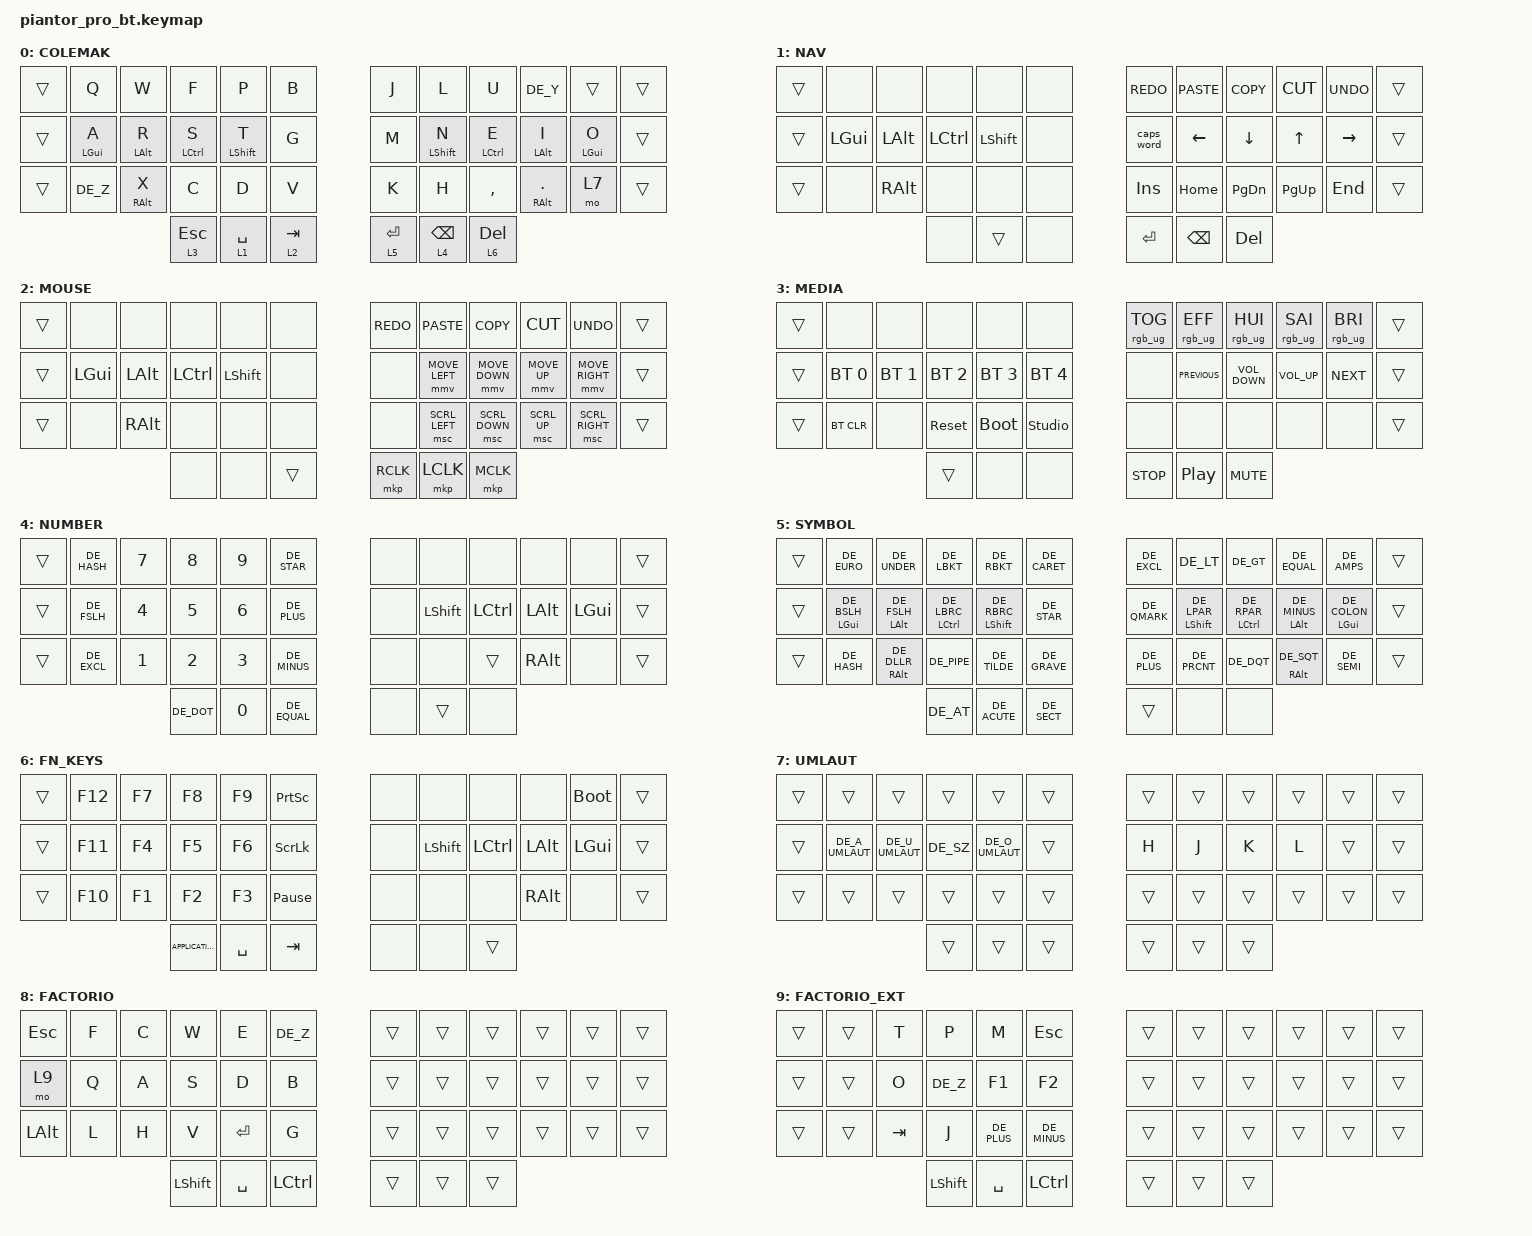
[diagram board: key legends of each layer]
/*
 * Copyright (c) 2020 The ZMK Contributors
 *
 * SPDX-License-Identifier: MIT
 */

#include <behaviors.dtsi>
#include <dt-bindings/zmk/keys.h>
#include <dt-bindings/zmk/bt.h>
#include <dt-bindings/zmk/rgb.h>
#include <dt-bindings/zmk/pointing.h>

#include "keys_de.h"
// TODO:
//  - configure mouse-movement correctly --> https://zmk.dev/docs/keymaps/behaviors/mouse-emulation

#define LEFT_HALVE_KEYS  0  1  2  3  4  5  12 13 14 15 16 17 24 25 26 27 28 29
#define RIGHT_HALVE_KEYS 6  7  8  9  10 11 18 19 20 21 22 23 30 31 32 33 34 35
#define THUMB_KEYS                         36 37 38 39 40 41

#define QUICK_TAP_MS 175

/ {
    chosen {
        zmk,physical-layout = &default_layout;
    };
};

&lt {
  flavor = "balanced";
  tapping-term-ms = <200>;
  // Make double-tap and hold able to fire e.g. mutliple backspaces
  quick-tap-ms = <QUICK_TAP_MS>;
};

/ {
    behaviors {
        hml: home_row_mod_left {
            compatible = "zmk,behavior-hold-tap";
            #binding-cells = <2>;
            flavor = "balanced";
            require-prior-idle-ms = <150>;
            tapping-term-ms = <280>;
            quick-tap-ms = <QUICK_TAP_MS>;
            bindings = <&kp>, <&kp>;
            hold-trigger-key-positions = <RIGHT_HALVE_KEYS THUMB_KEYS>;
            hold-trigger-on-release;
        };
        hmr: home_row_mod_right {
            compatible = "zmk,behavior-hold-tap";
            #binding-cells = <2>;
            flavor = "balanced";
            require-prior-idle-ms = <150>;
            tapping-term-ms = <280>;
            quick-tap-ms = <QUICK_TAP_MS>;
            bindings = <&kp>, <&kp>;
            hold-trigger-key-positions = <LEFT_HALVE_KEYS THUMB_KEYS>;
            hold-trigger-on-release;
        };
    };
};

/ {
    keymap {
        compatible = "zmk,keymap";

        default_layer_0 {
            display-name = "COLEMAK";
            bindings = <
                &trans &kp  Q      &kp  W      &kp  F       &kp  P       &kp B     /**/ &kp J      &kp  L         &kp  U        &kp  DE_Y     &trans        &trans
                &trans &hml LGUI A &hml LALT R &hml LCTRL S &hml LSHFT T &kp G     /**/ &kp M      &hmr LSHFT N   &hmr LCTRL E  &hmr LALT I   &hmr LGUI O   &trans
                &trans &kp  DE_Z   &hml RALT X &kp  C       &kp  D       &kp V     /**/ &kp K      &kp  H         &kp  COMMA    &hmr RALT DOT &mo  7        &trans
                                               &lt 3 ESC    &lt 1 SPACE  &lt 2 TAB /**/ &lt 5 RET  &lt 4 BSPC     &lt 6 DEL
            >;
        };

        navigation_layer_1 {
            display-name = "NAV";
            bindings = <
                // TODO: should i rather use C_REDO etc?
                &trans &none     &none       &none       &none        &none     /**/ &kp K_REDO &kp K_PASTE    &kp K_COPY     &kp K_CUT    &kp K_UNDO      &trans
                &trans &kp LGUI  &kp LALT    &kp LCTRL   &kp LSHFT    &none     /**/ &caps_word &kp LEFT       &kp DOWN       &kp UP       &kp RIGHT       &trans
                &trans &none     &kp RALT    &none       &none        &none     /**/ &kp INSERT &kp HOME       &kp PG_DN      &kp PG_UP    &kp END         &trans
                                             &none       &trans       &none     /**/ &kp RET    &kp BSPC       &kp DEL
            >;
        };
        // not sure if this is still needed... used veeeeery infrequently
        mouse_layer_2 {
            display-name = "MOUSE";
            bindings = <
                &trans &none     &none       &none       &none        &none     /**/ &kp K_REDO &kp  K_PASTE   &kp  K_COPY    &kp  K_CUT   &kp  K_UNDO     &trans
                &trans &kp LGUI  &kp LALT    &kp LCTRL   &kp LSHFT    &none     /**/ &none      &mmv MOVE_LEFT &mmv MOVE_DOWN &mmv MOVE_UP &mmv MOVE_RIGHT &trans
                &trans &none     &kp RALT    &none       &none        &none     /**/ &none      &msc SCRL_LEFT &msc SCRL_DOWN &msc SCRL_UP &msc SCRL_RIGHT &trans
                                             &none       &none        &trans    /**/ &mkp RCLK  &mkp LCLK      &mkp MCLK
            >;
        };

        media_layer_3 {
            display-name = "MEDIA";
            bindings = <
                &trans &none        &none        &none        &none        &none          /**/ &rgb_ug RGB_TOG &rgb_ug RGB_EFF   &rgb_ug RGB_HUI   &rgb_ug RGB_SAI &rgb_ug RGB_BRI &trans
                &trans &bt BT_SEL 0 &bt BT_SEL 1 &bt BT_SEL 2 &bt BT_SEL 3 &bt BT_SEL 4   /**/ &none           &kp C_PREVIOUS    &kp C_VOLUME_DOWN &kp C_VOLUME_UP &kp C_NEXT      &trans
                &trans &bt BT_CLR   &none        &sys_reset   &bootloader  &studio_unlock /**/ &none           &none             &none             &none           &none           &trans
                                                 &trans       &none        &none          /**/ &kp C_STOP      &kp C_PLAY_PAUSE  &kp C_MUTE
            >;
        };

        numbers_layer_4 {
            display-name = "NUMBER";
            bindings = <
                &trans &kp DE_HASH &kp N7  &kp N8  &kp N9  &kp DE_STAR  /**/ &none &none     &none     &none    &none    &trans
                &trans &kp DE_FSLH &kp N4  &kp N5  &kp N6  &kp DE_PLUS  /**/ &none &kp LSHFT &kp LCTRL &kp LALT &kp LGUI &trans
                &trans &kp DE_EXCL &kp N1  &kp N2  &kp N3  &kp DE_MINUS /**/ &none &none     &trans    &kp RALT &none    &trans
                                        &kp DE_DOT &kp N0  &kp DE_EQUAL /**/ &none &trans    &none
            >;
        };

        symbols_layer_5 {
            display-name = "SYMBOL";
            bindings = <
                // XXX: unverified keymaps just hoped for the best after converting
                &trans &kp  DE_EURO      &kp  DE_UNDER     &kp        DE_LBKT &kp        DE_RBKT &kp DE_CARET /**/ &kp DE_EXCL   &kp  DE_LT         &kp  DE_GT         &kp  DE_EQUAL      &kp  DE_AMPS       &trans
                &trans &hml LGUI DE_BSLH &hml LALT DE_FSLH &hml LCTRL DE_LBRC &hml LSHFT DE_RBRC &kp DE_STAR  /**/ &kp DE_QMARK  &hmr LSHFT DE_LPAR &hmr LCTRL DE_RPAR &hmr LALT DE_MINUS &hmr LGUI DE_COLON &trans
                &trans &kp  DE_HASH      &hml RALT DE_DLLR &kp  DE_PIPE       &kp  DE_TILDE      &kp DE_GRAVE /**/ &kp DE_PLUS   &kp  DE_PRCNT      &kp  DE_DQT        &hmr RALT DE_SQT   &kp  DE_SEMI       &trans
                                                           &kp  DE_AT         &kp  DE_ACUTE      &kp DE_SECT  /**/ &trans        &none              &none
            >;
        };

        function_layer_6 {
            display-name = "FN_KEYS";
            bindings = <
                &trans &kp F12 &kp F7 &kp F8 &kp F9 &kp PRINTSCREEN /**/ &none &none     &none &none &bootloader &trans
                &trans &kp F11 &kp F4 &kp F5 &kp F6 &kp SCROLLLOCK  /**/ &none &kp LSHFT &kp LCTRL &kp LALT &kp LGUI &trans
                &trans &kp F10 &kp F1 &kp F2 &kp F3 &kp PAUSE_BREAK /**/ &none &none     &none     &kp RALT &none    &trans
                                &kp K_APPLICATION &kp SPACE &kp TAB /**/ &none &none     &trans
            >;
        };

        umlaute_layer_7 {
            display-name = "UMLAUT"; // quick access to umlauts and vim hjkl binding
            bindings = <
                &trans &trans &trans &trans &trans &trans                        /**/ &trans &trans &trans &trans &trans &trans
                &trans &kp DE_A_UMLAUT &kp DE_U_UMLAUT &kp DE_SZ &kp DE_O_UMLAUT /**/ &trans &kp H &kp J &kp K &kp L &trans &trans
                &trans &trans &trans &trans &trans &trans                        /**/ &trans &trans &trans &trans &trans &trans
                                     &trans &trans &trans                        /**/ &trans &trans &trans
            >;
        };
        factorio_case_8 {
            // TODO: maybe those layers need to be revised!
            display-name = "FACTORIO";
            bindings = <
                &kp ESC  &kp F &kp C &kp W &kp E   &kp DE_Z /**/ &trans &trans &trans &trans &trans &trans
                &mo 9    &kp Q &kp A &kp S &kp D   &kp B    /**/ &trans &trans &trans &trans &trans &trans
                &kp LALT &kp L &kp H &kp V &kp RET &kp G    /**/ &trans &trans &trans &trans &trans &trans
                              &kp LSHFT &kp SPACE &kp LCTRL /**/ &trans &trans &trans
            >;
        };
        factorio_ext_9 {
            display-name = "FACTORIO_EXT";
            bindings = <
                &trans &trans &kp T   &kp P     &kp M       &kp ESC      /**/ &trans &trans &trans &trans &trans &trans
                &trans &trans &kp O   &kp DE_Z  &kp F1      &kp F2       /**/ &trans &trans &trans &trans &trans &trans
                &trans &trans &kp TAB &kp J     &kp DE_PLUS &kp DE_MINUS /**/ &trans &trans &trans &trans &trans &trans
                                      &kp LSHFT &kp SPACE   &kp LCTRL    /**/ &trans &trans &trans
            >;
        };
    };
};
